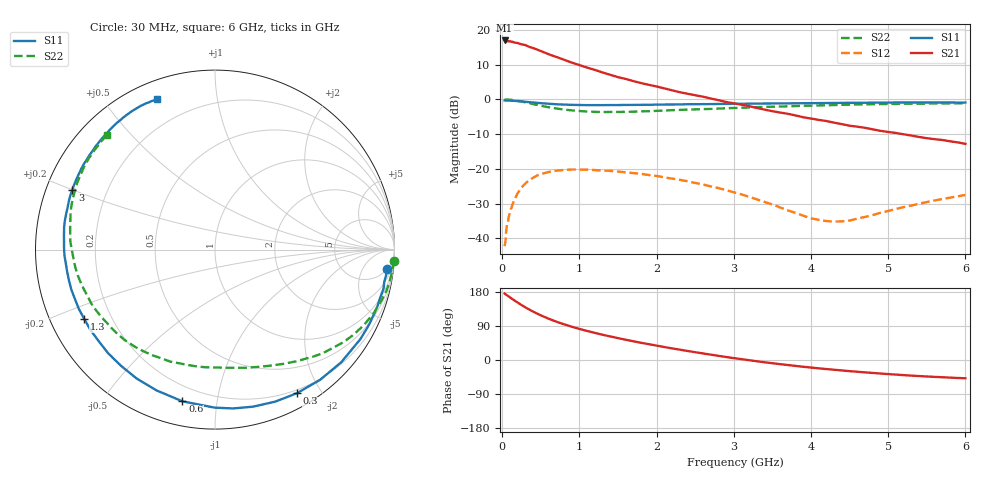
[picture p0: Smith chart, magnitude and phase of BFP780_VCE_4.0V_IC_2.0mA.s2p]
! Infineon Technologies  Discrete & RF Semiconductors
! BFP780
! VCE =  4.0 V,  IC =  2.0 mA
! Common Emitter S-Parameters:  Jul 2015
# GHz  S  MA  R  50
!  f  S11  S21  S12  S22
! GHz  MAG  ANG  MAG  ANG  MAG  ANG  MAG  ANG
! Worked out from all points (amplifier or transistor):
!   75 points, 30 MHz to 6 GHz, reference 50 ohm
!   highest |S21| = 16.9 dB at 30 MHz (marker M1)
!   |S21| within 3 dB of that: start of sweep to 494.7 MHz
!   unconditionally stable (mu >= 1): 2.995 GHz to end of sweep
!   at 150 MHz: K = 0.03, MSG = 22.8 dB, |S12| = -29.2 dB
!   at 2.3 GHz: K = 0.56, MSG = 12.6 dB, |S12| = -23.2 dB
!   at 6 GHz: K = 2.27, MAG = 1.0 dB, |S12| = -27.5 dB
!   S11 on the Smith chart (normalised r, x): 30 MHz: 5, -16; 300 MHz: 0.16, -1.71; 600 MHz: 0.12, -0.80; 1.3 GHz: 0.10, -0.25; 3 GHz: 0.08, +0.20; 6 GHz: 0.08, +0.68
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0.03  0.964 -6.6  7.037 175.4  0.0077 83.7  0.9985 -3.5
0.04  0.9638 -8.7  6.836 173.9  0.0089 82.5  0.9958 -4.7
0.07  0.9599 -15.0  6.929 169.4  0.0158 81.2  0.9923 -8.0
0.14  0.9513 -29.8  6.691 159.5  0.0322 70.8  0.9738 -15.8
0.2  0.9427 -41.7  6.451 151.5  0.0448 63.0  0.9513 -22.1
0.3  0.9212 -60.3  6.039 138.8  0.0615 51.1  0.9041 -31.9
0.4  0.9004 -76.4  5.468 127.6  0.0744 40.5  0.8522 -40.3
0.45  0.8907 -83.5  5.203 122.5  0.08 35.7  0.8324 -44.0
0.6  0.8646 -102.1  4.457 109.0  0.09 23.3  0.7695 -54.0
0.7  0.8494 -112.5  4.078 101.1  0.0941 16.4  0.7383 -59.8
0.8  0.8406 -121.3  3.714 94.2  0.0961 10.1  0.7122 -65.5
0.9  0.8327 -129.0  3.377 87.9  0.0977 4.6  0.694 -70.5
1.1  0.8247 -141.9  2.859 76.6  0.0971 -5.0  0.6672 -80.6
1.3  0.8247 -152.0  2.434 66.6  0.0945 -13.1  0.6565 -89.9
1.7  0.8315 -167.9  1.827 49.3  0.0867 -26.7  0.6639 -107.5
2.1  0.8411 179.5  1.437 34.2  0.0752 -38.3  0.6894 -123.7
2.5  0.8519 169.1  1.146 20.6  0.0626 -47.5  0.7171 -138.5
3  0.8626 157.2  0.876 4.9  0.0459 -55.6  0.7514 -156.2
3.1  0.8641 155.1  0.837 2.2  0.0427 -55.8  0.7554 -159.6
4.1  0.8828 135.8  0.506 -22.0  0.0184 -31.2  0.8161 171.5
5.1  0.8996 121.0  0.328 -38.5  0.0265 17.8  0.8588 149.7
6  0.8987 111.0  0.229 -48.3  0.042 20.4  0.8778 133.5
